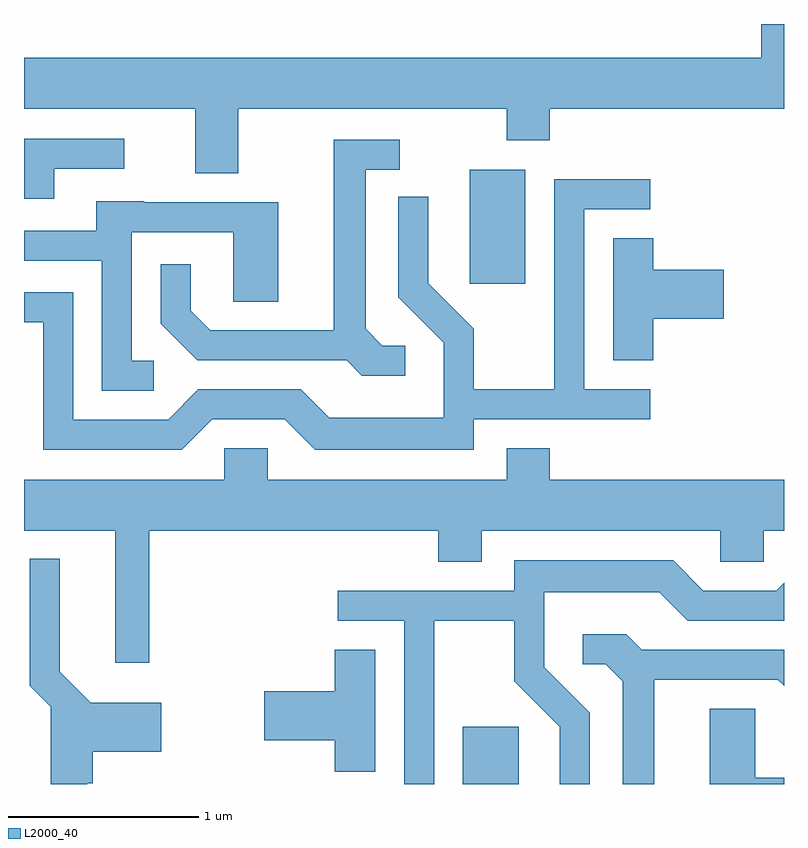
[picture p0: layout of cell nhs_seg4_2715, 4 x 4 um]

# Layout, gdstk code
import gdstk
lib = gdstk.Library(unit=1e-6, precision=1e-09)
def R(c, l, rs):  # rectangles x0, y0, x1, y1
    for r in rs: c.add(gdstk.rectangle(r[:2], r[2:], *l))
def P(c, l, *ps):  # polygons
    for p in ps: c.add(gdstk.Polygon(p, *l))
L2000_40 = (2000, 40)

nhs_seg4_2715 = lib.new_cell('nhs_seg4_2715')
R(nhs_seg4_2715, L2000_40, [(265.921,1379.982,266.214,1380.284), (265.956,1382.616,266.249,1383.214)])
P(nhs_seg4_2715, L2000_40, [(264.739,1383.536),(266.151,1383.536),(266.151,1383.371),(266.379,1383.371),(266.379,1383.536),(267.611,1383.536),(267.611,1383.982),(267.491,1383.982),(267.491,1383.804),(263.611,1383.804),(263.611,1383.536),(264.511,1383.536),(264.511,1383.196),(264.739,1383.196)],
  [(263.769,1383.221),(264.138,1383.221),(264.138,1383.379),(263.611,1383.379),(263.611,1383.061),(263.769,1383.061)],
  [(265.618,1382.289),(265.497,1382.289),(265.409,1382.377),(265.409,1383.216),(265.588,1383.216),(265.588,1383.374),(265.241,1383.374),(265.241,1382.369),(264.592,1382.369),(264.489,1382.472),(264.489,1382.718),(264.331,1382.718),(264.331,1382.404),(264.524,1382.211),(265.309,1382.211),(265.389,1382.131),(265.618,1382.131)],
  [(264.602,1381.901),(264.984,1381.901),(265.144,1381.741),(265.979,1381.741),(265.979,1381.901),(266.908,1381.901),(266.908,1382.059),(266.559,1382.059),(266.559,1383.006),(266.908,1383.006),(266.908,1383.164),(266.401,1383.164),(266.401,1382.059),(265.979,1382.059),(265.979,1382.377),(265.739,1382.617),(265.739,1383.073),(265.581,1383.073),(265.581,1382.544),(265.821,1382.304),(265.821,1381.909),(265.217,1381.909),(265.067,1382.059),(264.529,1382.059),(264.369,1381.899),(263.869,1381.899),(263.869,1382.569),(263.611,1382.569),(263.611,1382.411),(263.711,1382.411),(263.711,1381.741),(264.442,1381.741)],
  [(264.293,1382.209),(264.179,1382.209),(264.179,1382.886),(264.711,1382.886),(264.711,1382.521),(264.949,1382.521),(264.949,1383.044),(264.245,1383.044),(264.245,1383.049),(263.991,1383.049),(263.991,1382.894),(263.611,1382.894),(263.611,1382.736),(264.021,1382.736),(264.021,1382.051),(264.293,1382.051)],
  [(266.924,1382.431),(267.294,1382.431),(267.294,1382.689),(266.924,1382.689),(266.924,1382.854),(266.711,1382.854),(266.711,1382.211),(266.924,1382.211)],
  [(264.269,1381.316),(265.791,1381.316),(265.791,1381.151),(266.019,1381.151),(266.019,1381.316),(267.276,1381.316),(267.276,1381.151),(267.504,1381.151),(267.504,1381.316),(267.611,1381.316),(267.611,1381.584),(266.379,1381.584),(266.379,1381.749),(266.151,1381.749),(266.151,1381.584),(264.894,1381.584),(264.894,1381.749),(264.666,1381.749),(264.666,1381.584),(263.611,1381.584),(263.611,1381.316),(264.091,1381.316),(264.091,1380.621),(264.269,1380.621)],
  [(263.944,1379.986),(263.974,1379.986),(263.974,1380.151),(264.334,1380.151),(264.334,1380.409),(263.962,1380.409),(263.799,1380.572),(263.799,1381.168),(263.641,1381.168),(263.641,1380.499),(263.751,1380.389),(263.751,1379.982),(263.944,1379.982)],
  [(265.769,1380.841),(266.191,1380.841),(266.191,1380.524),(266.431,1380.284),(266.431,1379.982),(266.589,1379.982),(266.589,1380.357),(266.349,1380.597),(266.349,1380.991),(266.954,1380.991),(267.104,1380.841),(267.611,1380.841),(267.611,1381.041),(267.569,1380.999),(267.187,1380.999),(267.027,1381.159),(266.191,1381.159),(266.191,1380.999),(265.263,1380.999),(265.263,1380.841),(265.611,1380.841),(265.611,1379.982),(265.769,1379.982)],
  [(266.929,1380.531),(267.579,1380.531),(267.611,1380.499),(267.611,1380.689),(266.862,1380.689),(266.782,1380.769),(266.553,1380.769),(266.553,1380.611),(266.674,1380.611),(266.761,1380.524),(266.761,1379.982),(266.929,1379.982)],
  [(265.459,1380.689),(265.246,1380.689),(265.246,1380.469),(264.876,1380.469),(264.876,1380.211),(265.246,1380.211),(265.246,1380.046),(265.459,1380.046)],
  [(267.611,1380.014),(267.459,1380.014),(267.459,1380.379),(267.221,1380.379),(267.221,1379.982),(267.611,1379.982)])

lib.write_gds('nhs_seg4_2715.gds')
